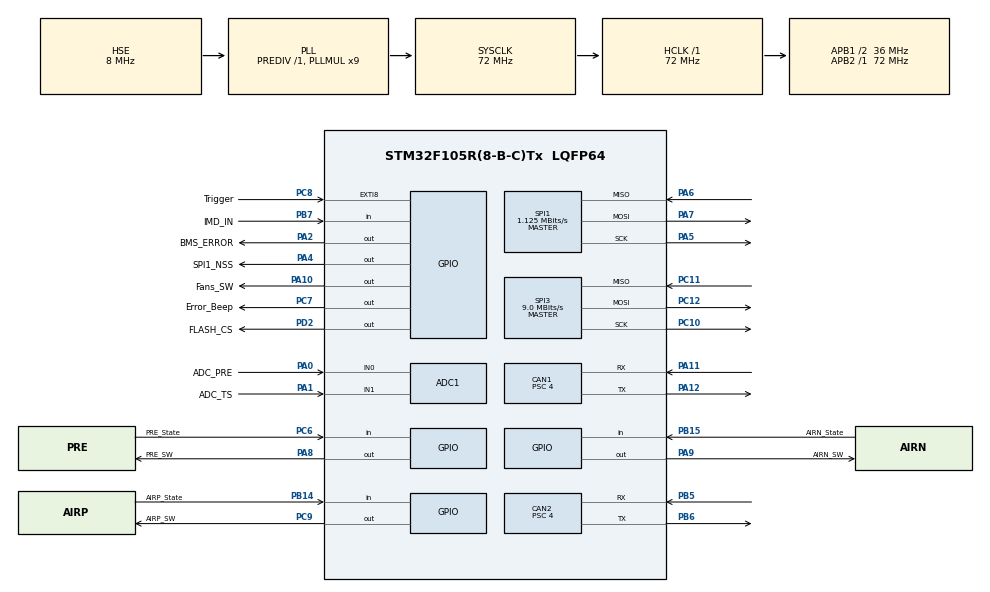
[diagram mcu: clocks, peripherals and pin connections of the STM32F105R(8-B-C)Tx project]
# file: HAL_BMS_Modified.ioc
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ADC1.Channel-0\#ChannelRegularConversion=ADC_CHANNEL_0
ADC1.NbrOfConversion=1
ADC1.NbrOfConversionFlag=1
ADC1.Rank-0\#ChannelRegularConversion=1
ADC1.SamplingTime-0\#ChannelRegularConversion=ADC_SAMPLETIME_55CYCLES_5
ADC1.master=1
CAN1.ABOM=ENABLE
CAN1.BS1=CAN_BS1_9TQ
CAN1.BS2=CAN_BS2_8TQ
CAN1.CalculateBaudRate=500000
CAN1.CalculateTimeBit=2000
CAN1.CalculateTimeQuantum=111.11111111111111
CAN1.NART=ENABLE
CAN1.Prescaler=4
CAN2.ABOM=ENABLE
CAN2.BS1=CAN_BS1_9TQ
CAN2.BS2=CAN_BS2_8TQ
CAN2.CalculateBaudRate=500000
CAN2.CalculateTimeBit=2000
CAN2.CalculateTimeQuantum=111.11111111111111
CAN2.NART=ENABLE
CAN2.Prescaler=4
Mcu.Family=STM32F1
Mcu.Name=STM32F105R(8-B-C)Tx
Mcu.Package=LQFP64
NVIC.CAN1_RX0_IRQn=true\:0\:0\:false\:false\:true\:true\:true\:true
NVIC.CAN1_TX_IRQn=true\:0\:0\:false\:false\:true\:true\:true\:true
NVIC.CAN2_RX1_IRQn=true\:0\:0\:false\:false\:true\:true\:true\:true
NVIC.CAN2_TX_IRQn=true\:0\:0\:false\:false\:true\:true\:true\:true
NVIC.EXTI9_5_IRQn=true\:1\:0\:true\:false\:true\:true\:true\:true
NVIC.PriorityGroup=NVIC_PRIORITYGROUP_4
NVIC.SPI1_IRQn=true\:0\:0\:false\:false\:true\:true\:true\:true
NVIC.SPI3_IRQn=true\:0\:0\:false\:false\:true\:true\:true\:true
NVIC.TIM2_IRQn=true\:0\:0\:false\:false\:true\:true\:true\:true
NVIC.TIM3_IRQn=true\:0\:0\:false\:false\:true\:true\:true\:true
PA0-WKUP.GPIO_Label=ADC_PRE
PA0-WKUP.Signal=ADCx_IN0
PA1.GPIO_Label=ADC_TS
PA1.Signal=ADCx_IN1
PA10.GPIO_Label=Fans_SW
PA10.GPIO_ModeDefaultOutputPP=GPIO_MODE_OUTPUT_OD
PA10.GPIO_PuPd=GPIO_NOPULL
PA10.GPIO_Speed=GPIO_SPEED_FREQ_HIGH
PA10.PinState=GPIO_PIN_RESET
PA10.Signal=GPIO_Output
PA11.Mode=CAN_Activate
PA11.Signal=CAN1_RX
PA12.Mode=CAN_Activate
PA12.Signal=CAN1_TX
PA13.Mode=Serial_Wire
PA13.Signal=SYS_JTMS-SWDIO
PA14.Mode=Serial_Wire
PA14.Signal=SYS_JTCK-SWCLK
PA2.GPIO_Label=BMS_ERROR
PA2.GPIO_ModeDefaultOutputPP=GPIO_MODE_OUTPUT_OD
PA2.GPIO_PuPd=GPIO_NOPULL
PA2.GPIO_Speed=GPIO_SPEED_FREQ_HIGH
PA2.PinState=GPIO_PIN_SET
PA2.Signal=GPIO_Output
PA4.GPIO_Label=SPI1_NSS
PA4.GPIO_Speed=GPIO_SPEED_FREQ_HIGH
PA4.PinState=GPIO_PIN_SET
PA4.Signal=GPIO_Output
PA5.Mode=Full_Duplex_Master
PA5.Signal=SPI1_SCK
PA6.Mode=Full_Duplex_Master
PA6.Signal=SPI1_MISO
PA7.Mode=Full_Duplex_Master
PA7.Signal=SPI1_MOSI
PA8.GPIO_Label=PRE_SW
PA8.GPIO_ModeDefaultOutputPP=GPIO_MODE_OUTPUT_OD
PA8.GPIO_PuPd=GPIO_NOPULL
PA8.GPIO_Speed=GPIO_SPEED_FREQ_HIGH
PA8.PinState=GPIO_PIN_RESET
PA8.Signal=GPIO_Output
PA9.GPIO_Label=AIRN_SW
PA9.GPIO_ModeDefaultOutputPP=GPIO_MODE_OUTPUT_OD
PA9.GPIO_PuPd=GPIO_NOPULL
PA9.GPIO_Speed=GPIO_SPEED_FREQ_HIGH
PA9.PinState=GPIO_PIN_RESET
PA9.Signal=GPIO_Output
PB14.GPIO_Label=AIRP_State
PB14.GPIO_PuPd=GPIO_NOPULL
PB14.Signal=GPIO_Input
PB15.GPIO_Label=AIRN_State
PB15.GPIO_PuPd=GPIO_NOPULL
PB15.Signal=GPIO_Input
PB5.Mode=CAN_Activate
PB5.Signal=CAN2_RX
PB6.Mode=CAN_Activate
PB6.Signal=CAN2_TX
PB7.GPIO_Label=IMD_IN
PB7.Signal=GPIO_Input
PC10.Mode=Full_Duplex_Master
PC10.Signal=SPI3_SCK
PC11.Mode=Full_Duplex_Master
PC11.Signal=SPI3_MISO
PC12.Mode=Full_Duplex_Master
PC12.Signal=SPI3_MOSI
PC6.GPIO_Label=PRE_State
PC6.GPIO_PuPd=GPIO_NOPULL
PC6.Signal=GPIO_Input
PC7.GPIO_Label=Error_Beep
PC7.Signal=GPIO_Output
PC8.GPIO_Label=Trigger
PC8.GPIO_ModeDefaultEXTI=GPIO_MODE_IT_FALLING
PC8.Signal=GPXTI8
PC9.GPIO_Label=AIRP_SW
PC9.GPIO_ModeDefaultOutputPP=GPIO_MODE_OUTPUT_OD
PC9.GPIO_PuPd=GPIO_NOPULL
PC9.GPIO_Speed=GPIO_SPEED_FREQ_HIGH
PC9.PinState=GPIO_PIN_RESET
PC9.Signal=GPIO_Output
PD0-OSC_IN.Mode=HSE-External-Oscillator
PD0-OSC_IN.Signal=RCC_OSC_IN
PD1-OSC_OUT.Mode=HSE-External-Oscillator
PD1-OSC_OUT.Signal=RCC_OSC_OUT
PD2.GPIO_Label=FLASH_CS
PD2.GPIO_PuPd=GPIO_PULLUP
PD2.GPIO_Speed=GPIO_SPEED_FREQ_HIGH
PD2.PinState=GPIO_PIN_SET
PD2.Signal=GPIO_Output
ProjectManager.HeapSize=0x200
ProjectManager.StackSize=0x400
ProjectManager.TargetToolchain=MDK-ARM V5
RCC.ADCPresc=RCC_ADCPCLK2_DIV6
RCC.AHBFreq_Value=72000000
RCC.APB1CLKDivider=RCC_HCLK_DIV2
RCC.APB1Freq_Value=36000000
RCC.APB1TimFreq_Value=72000000
RCC.APB2Freq_Value=72000000
RCC.APB2TimFreq_Value=72000000
RCC.HCLKFreq_Value=72000000
RCC.PLLMUL=RCC_PLL_MUL9
RCC.PLLSourceVirtual=RCC_PLLSOURCE_HSE
RCC.SYSCLKFreq_VALUE=72000000
RCC.SYSCLKSource=RCC_SYSCLKSOURCE_PLLCLK
RCC.USBFreq_Value=48000000
SH.ADCx_IN0.0=ADC1_IN0,IN0
SH.ADCx_IN1.0=ADC1_IN1,IN1
SPI1.BaudRatePrescaler=SPI_BAUDRATEPRESCALER_64
SPI1.CLKPhase=SPI_PHASE_2EDGE
SPI1.CLKPolarity=SPI_POLARITY_HIGH
SPI1.CalculateBaudRate=1.125 MBits/s
SPI1.Direction=SPI_DIRECTION_2LINES
SPI1.Mode=SPI_MODE_MASTER
SPI1.VirtualType=VM_MASTER
SPI3.BaudRatePrescaler=SPI_BAUDRATEPRESCALER_4
SPI3.CalculateBaudRate=9.0 MBits/s
SPI3.Direction=SPI_DIRECTION_2LINES
SPI3.Mode=SPI_MODE_MASTER
SPI3.VirtualType=VM_MASTER
TIM2.AutoReloadPreload=TIM_AUTORELOAD_PRELOAD_ENABLE
TIM2.Period=200 - 1
TIM2.Prescaler=360 - 1
TIM3.AutoReloadPreload=TIM_AUTORELOAD_PRELOAD_ENABLE
TIM3.Period=60000-1
TIM3.Prescaler=1200-1
VP_TIM2_VS_ClockSourceINT.Mode=Internal
VP_TIM3_VS_ClockSourceINT.Mode=Internal
board=custom

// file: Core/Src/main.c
/* USER CODE BEGIN Header */
/**
 ******************************************************************************
 * @file           : main.c
 * @brief          : Main program body
 ******************************************************************************
 * @attention
 *
 * Copyright (c) 2023 STMicroelectronics.
 * All rights reserved.
 *
 * This software is licensed under terms that can be found in the LICENSE file
 * in the root directory of this software component.
 * If no LICENSE file comes with this software, it is provided AS-IS.
 *
 ******************************************************************************
 */
/* USER CODE END Header */
#include "main.h"
#include "adc.h"
#include "can.h"
#include "spi.h"
#include "tim.h"
#include "gpio.h"

/* USER CODE BEGIN Includes */
#include "data-user.h"
#include "adc-user.h"
#include "ltc681x-user.h"
#include "daisy-user.h"
#include "relay-user.h"
#include "state-user.h"
#include "can-user.h"
#include "os-user.h"
#include "flash-user.h"
// #include "rtc-user.h"

/* USER CODE END Includes */

void SystemClock_Config(void);

/* USER CODE BEGIN 0 */
const u8 Beep_mute = 0; // 定义蜂鸣器禁止鸣叫位, 1:禁止 0:允许 . 可以修改

BMS E03           = {0}; // 最重要的全局变量E03定义 666
vu16 adc[num_adc] = {0}; // adc[0]为ADC_PRE, adc[1]为ADC_TS, adc[2]为PRE_STATE, adc[3]为AIR+_STATE, adc[4]为AIR-_STATE

extern int16_t pec15Table[256]; /*以下的在LTC681X.c*/
extern int16_t CRC15_POLY;
extern int16_t re, address;
// extern TASK_COMPONENTS BMS_Tasks[];
extern TaskManager taskManager;
extern MODULE Module[Total_ic];
extern u8 n_Cell[Total_ic];
extern vu8 Trigger_True;

// extern TIME time;

/* USER CODE END 0 */

int main(void)
{

    /* MCU Configuration--------------------------------------------------------*/

    /* Reset of all peripherals, Initializes the Flash interface and the Systick. */
    HAL_Init();

    /* Configure the system clock */
    SystemClock_Config();

    /* Initialize all configured peripherals */
    MX_GPIO_Init();
    MX_ADC1_Init();
    MX_CAN1_Init();
    MX_CAN2_Init();
    MX_SPI1_Init();
    MX_SPI3_Init();
    MX_TIM2_Init();
    MX_TIM3_Init();
    /* USER CODE BEGIN 2 */
    HAL_ADCEx_Calibration_Start(&hadc1); // ADC采样校准

    // 创建任务，越先创建的任务优先级越高，任务创建的顺序及其itvTime变量的值参考以前的设置（参见os-user.c中的BMS_Tasks的定义）
    TaskCreate(&Precharge_Run_Handle, 0xFFFF, Precharge_Run, NULL);
    TaskCreate(&charge_ing_Handle, 1000, charge_ing, NULL);
    TaskCreate(&BMS_StateMachine_Handle, 50, BMS_StateMachine, NULL);
    TaskCreate(&Hall_Timeout_Handle, 100, Hall_Timeout, NULL);
    TaskCreate(&State_Upgrade_Handle, 50, State_Upgrade, NULL);
    TaskCreate(&Slave_Measure_Handle, 200, Slave_Measure, NULL);
    TaskCreate(&OpenVol_Check_Handle, 100, OpenVol_Check, NULL);
    TaskCreate(&BMS_Can_Handle, 100, BMS_Can, NULL); // 发给主控的CAN报文
    TaskCreate(&IMD_Detect_Handle, 500, IMD_Detect, NULL);
    //TaskCreate(&Slave_Balance_Handle, 1000, Slave_Balance, NULL);
    Data_Init();    // BMS的初始化
    BMS_SelfTest(); // 自检
    // E03.Alarm.error_mute |= Relay_Error_mute;
    // E03.Alarm.error_mute |= Vol_Error_mute;
    // E03.Alarm.error_mute = 0xFFFFFFFF;
    HAL_TIM_Base_Start_IT(&htim2); // 定时器2使能, 开始操作系统计时
    HAL_TIM_Base_Start_IT(&htim3); // 定时器2使能, 开始操作系统计时
    /* USER CODE END 2 */

    /* Infinite loop */
    /* USER CODE BEGIN WHILE */
    while (1) {
        TaskScheduler(); // 启动操作系统
        /* USER CODE END WHILE */

    }
}

void SystemClock_Config(void)
{
    RCC_OscInitTypeDef RCC_OscInitStruct   = {0};
    RCC_ClkInitTypeDef RCC_ClkInitStruct   = {0};
    RCC_PeriphCLKInitTypeDef PeriphClkInit = {0};

    /** Initializes the RCC Oscillators according to the specified parameters
     * in the RCC_OscInitTypeDef structure.
     */
    RCC_OscInitStruct.OscillatorType = RCC_OSCILLATORTYPE_HSE;
    RCC_OscInitStruct.HSEState       = RCC_HSE_ON;
    RCC_OscInitStruct.HSEPredivValue = RCC_HSE_PREDIV_DIV1;
    RCC_OscInitStruct.HSIState       = RCC_HSI_ON;
    RCC_OscInitStruct.Prediv1Source  = RCC_PREDIV1_SOURCE_HSE;
    RCC_OscInitStruct.PLL.PLLState   = RCC_PLL_ON;
    RCC_OscInitStruct.PLL.PLLSource  = RCC_PLLSOURCE_HSE;
    RCC_OscInitStruct.PLL.PLLMUL     = RCC_PLL_MUL9;
    RCC_OscInitStruct.PLL2.PLL2State = RCC_PLL_NONE;
    if (HAL_RCC_OscConfig(&RCC_OscInitStruct) != HAL_OK) {
        Error_Handler();
    }

    /** Initializes the CPU, AHB and APB buses clocks
     */
    RCC_ClkInitStruct.ClockType      = RCC_CLOCKTYPE_HCLK | RCC_CLOCKTYPE_SYSCLK | RCC_CLOCKTYPE_PCLK1 | RCC_CLOCKTYPE_PCLK2;
    RCC_ClkInitStruct.SYSCLKSource   = RCC_SYSCLKSOURCE_PLLCLK;
    RCC_ClkInitStruct.AHBCLKDivider  = RCC_SYSCLK_DIV1;
    RCC_ClkInitStruct.APB1CLKDivider = RCC_HCLK_DIV2;
    RCC_ClkInitStruct.APB2CLKDivider = RCC_HCLK_DIV1;

    if (HAL_RCC_ClockConfig(&RCC_ClkInitStruct, FLASH_LATENCY_2) != HAL_OK) {
        Error_Handler();
    }
    PeriphClkInit.PeriphClockSelection = RCC_PERIPHCLK_ADC;
    PeriphClkInit.AdcClockSelection    = RCC_ADCPCLK2_DIV6;
    if (HAL_RCCEx_PeriphCLKConfig(&PeriphClkInit) != HAL_OK) {
        Error_Handler();
    }

    /** Configure the Systick interrupt time
     */
    __HAL_RCC_PLLI2S_ENABLE();
}

/* USER CODE BEGIN 4 */
// 下点火信号的外部中断
void HAL_GPIO_EXTI_Callback(uint16_t GPIO_Pin)
{
    // 更改了下电逻辑在BMS_RUN()里面, 所以这里注释掉了
    //	if(GPIO_Pin == Trigger_Pin){
    //		Trigger_True=1;		//设置标志位
    //		BMS_Tasks[anchor_NO].Run=0;		//任务正式开始
    //		BMS_Tasks[anchor_NO].Timer=50;
    //		BMS_Tasks[anchor_NO].ItvTime=50;
    //	}
}
// 定时器中断
void HAL_TIM_PeriodElapsedCallback(TIM_HandleTypeDef *htim)
{
    // 定时器2: 负责BMS主程序操作系统的任务提供基本定时
    if (htim->Instance == htim2.Instance) {
        TaskStatusUpdate();
    }
    // 定时器3: 发送第一个模组的平均温度
    /*if(htim-> Instance == htim3.Instance) {
        // SOC_CAL();
    static uint8_t delayCounter = 0;//该变量用于延时1s，确保第一次算平均温度时已经采集过一次温度
    if (delayCounter == 0)
    {
      delayCounter++;
    }else{
    CalcAveTemp();
    }
    }*/
}

/* USER CODE END 4 */

void Error_Handler(void)
{
    __disable_irq();
    while (1) {
    }
}
